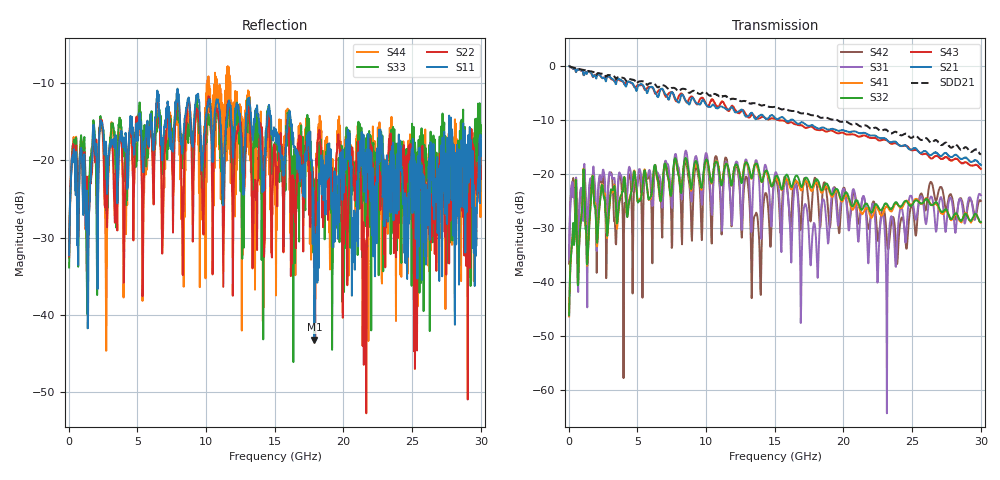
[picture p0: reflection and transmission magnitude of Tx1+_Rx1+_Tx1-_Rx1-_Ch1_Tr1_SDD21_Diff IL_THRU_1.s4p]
! MS46524B
! 2314202/M1: 22492055/M2: 21112458
! 12/30/2025 3:20:26 PM
! C:\ANRITSUVNA\TEMP\1.S4P
! CHANNEL.1
! TR.MEASUREMENT
! CORRECTED.DATA
# GHZ S RI R 50.0
! FREQ.GHZ  S11RE  S11IM  S12RE  S12IM  S13RE  S13IM  S14RE  S14IM
!  S21RE  S21IM  S22RE  S22IM  S23RE  S23IM  S24RE  S24IM
!  S31RE  S31IM  S32RE  S32IM  S33RE  S33IM  S34RE  S34IM
!  S41RE  S41IM  S42RE  S42IM  S43RE  S43IM  S44RE  S44IM
!; PortSelection: Port_1234
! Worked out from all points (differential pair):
!   1000 points, 30 MHz to 30 GHz, reference 50 ohm
!   strongest paths, dB at 30 MHz, 7.53 GHz, 15.03 GHz, 22.53 GHz, 30 GHz:
!     S21: -0.1, -4.9, -9.7, -13.3, -18.4
!     S43: -0.1, -5.0, -9.9, -13.8, -19.1
!     S32: -46.2, -22.1, -20.7, -26.2, -28.9
!     S41: -46.4, -22.0, -20.9, -26.7, -29.0
!     S31: -36.0, -26.3, -19.9, -36.9, -24.0
!     S42: -36.7, -33.4, -21.1, -32.5, -25.0
!   taken as a pair (ports 1,3 in; 2,4 out), SDD21 dB: -0.1, -4.1, -7.6, -11.8, -16.5
!   lowest |S11| = -43.2 dB at 17.88 GHz (marker M1), VSWR 1.01, Z = 49.6 - j0.537 ohm
!   |S11| at or under -10 dB: start of sweep to end of sweep
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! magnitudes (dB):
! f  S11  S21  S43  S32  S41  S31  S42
! 30 MHz  -32.3  -0.1  -0.1  -46.2  -46.4  -36.0  -36.7
! 1.05 GHz  -27.1  -1.2  -1.2  -21.2  -21.2  -28.7  -28.7
! 9.36 GHz  -11.5  -7.0  -7.1  -18.2  -18.7  -17.6  -19.4
! 13.92 GHz  -16.0  -9.2  -9.7  -20.2  -20.6  -24.6  -37.6
! 17.88 GHz  -43.2  -11.2  -11.7  -21.5  -22.1  -29.2  -21.0
! 25.26 GHz  -30.2  -15.3  -15.6  -24.9  -24.7  -28.5  -31.5
! 30 GHz  -19.4  -18.4  -19.1  -28.9  -29.0  -24.0  -25.0
